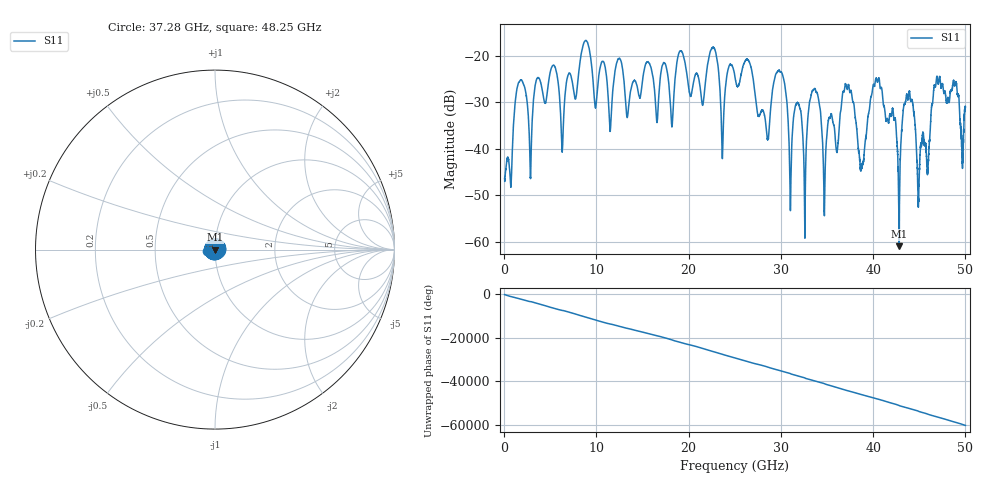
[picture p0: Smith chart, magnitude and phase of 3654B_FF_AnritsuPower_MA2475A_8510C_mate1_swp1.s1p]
!Created with skrf (http://scikit-rf.org).
# Hz S RI R 50.0
!freq ReS11 ImS11
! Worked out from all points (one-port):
!   10001 points, 45 MHz to 50 GHz, reference 50 ohm
!   lowest |S11| = -61.0 dB at 42.82 GHz (marker M1), VSWR 1.00, Z = 50 - j0.0749 ohm
!   |S11| at or under -10 dB: start of sweep to end of sweep
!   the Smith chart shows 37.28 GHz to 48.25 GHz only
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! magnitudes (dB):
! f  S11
! 45 MHz  -46.4
! 1.718 GHz  -25.3
! 2.842 GHz  -46.2
! 5.41 GHz  -22.1
! 6.289 GHz  -40.8
! 8.742 GHz  -16.8
! 11.49 GHz  -36.3
! 12.53 GHz  -20.6
! 18.17 GHz  -35.2
! 18.78 GHz  -20.7
! 22.74 GHz  -18.3
! 23.67 GHz  -41.7
! 25.02 GHz  -24.6
! 28.55 GHz  -38.0
! 29.96 GHz  -23.5
! 31.27 GHz  -35.8
! 31.93 GHz  -30.5
! 32.62 GHz  -54.2
! 33.71 GHz  -27.1
! 34.74 GHz  -50.2
! 37.51 GHz  -27.9
! 38.76 GHz  -43.9
! 40.5 GHz  -25.5
! 42.82 GHz  -61.0
! 43.76 GHz  -29.5
! 44.92 GHz  -51.2
! 47.02 GHz  -25.8
! 50 GHz  -31.1
